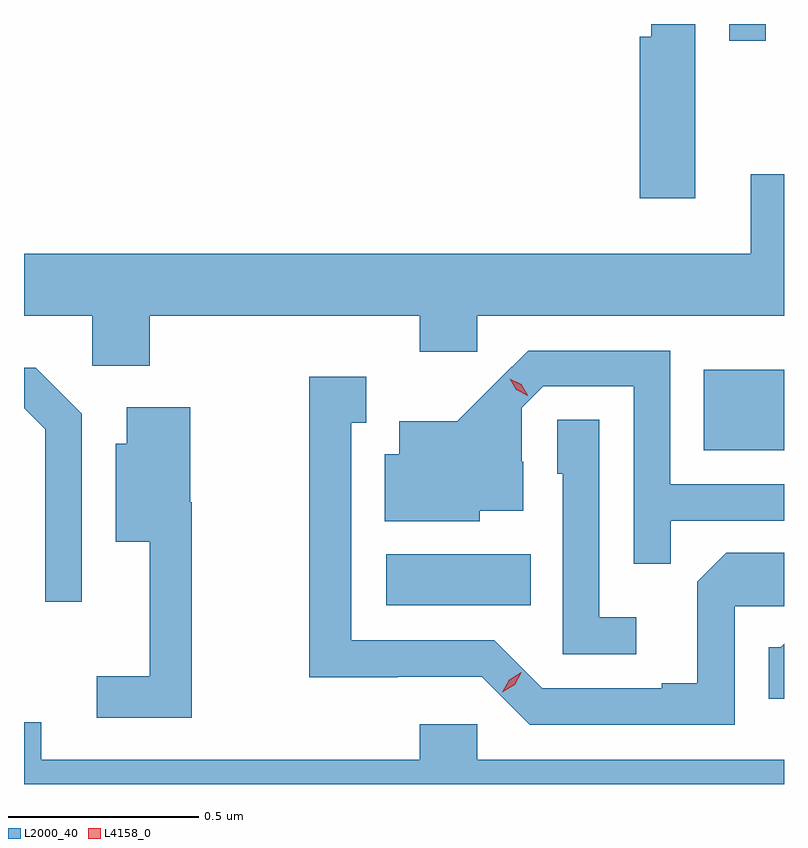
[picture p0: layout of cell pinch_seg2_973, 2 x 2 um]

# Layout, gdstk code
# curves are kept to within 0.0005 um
import gdstk
lib = gdstk.Library(unit=1e-6, precision=1e-09)
def R(c, l, rs):  # rectangles x0, y0, x1, y1
    for r in rs: c.add(gdstk.rectangle(r[:2], r[2:], *l))
def P(c, l, *ps):  # polygons
    for p in ps: c.add(gdstk.Polygon(p, *l))
L2000_40 = (2000, 40)
L4158_0 = (4158, 0)

pinch_seg2_973 = lib.new_cell('pinch_seg2_973')
R(pinch_seg2_973, L2000_40, [(325.854,654.866,326.234,655), (326.69,655.274,326.901,655.486), (326.757,656.352,326.853,656.396)])
P(pinch_seg2_973, L2000_40, [(326.668,656.258),(326.667,656.258),(326.667,656.396),(326.551,656.396),(326.551,656.362),(326.522,656.362),(326.522,655.938),(326.668,655.938)],
  [(325.232,655.628),(325.943,655.628),(325.943,655.533),(326.094,655.533),(326.094,655.628),(326.901,655.628),(326.901,656.001),(326.813,656.001),(326.813,655.792),(324.901,655.792),(324.901,655.628),(325.08,655.628),(325.08,655.497),(325.232,655.497)],
  [(326.603,655.089),(326.901,655.089),(326.901,655.185),(326.601,655.185),(326.601,655.536),(326.228,655.536),(326.041,655.351),(325.889,655.351),(325.889,655.264),(325.85,655.264),(325.85,655.088),(326.1,655.088),(326.1,655.115),(326.215,655.115),(326.215,655.244),(326.211,655.244),(326.211,655.386),(326.268,655.443),(326.505,655.443),(326.505,654.976),(326.603,654.976)],
  [(325.053,655.371),(324.932,655.492),(324.901,655.492),(324.901,655.385),(324.957,655.329),(324.957,654.876),(325.053,654.876)],
  [(326.772,654.864),(326.901,654.864),(326.901,655.004),(326.749,655.004),(326.673,654.928),(326.673,654.661),(326.579,654.661),(326.579,654.648),(326.265,654.648),(326.139,654.774),(325.762,654.774),(325.762,655.347),(325.801,655.347),(325.801,655.468),(325.651,655.468),(325.651,654.677),(325.884,654.677),(325.884,654.678),(326.106,654.678),(326.232,654.552),(326.772,654.552)],
  [(325.342,655.138),(325.338,655.138),(325.338,655.387),(325.172,655.387),(325.172,655.291),(325.142,655.291),(325.142,655.034),(325.232,655.034),(325.232,654.679),(325.092,654.679),(325.092,654.57),(325.342,654.57)],
  [(326.512,654.835),(326.415,654.835),(326.415,655.355),(326.304,655.355),(326.304,655.212),(326.319,655.212),(326.319,654.738),(326.512,654.738)],
  [(326.901,654.765),(326.892,654.756),(326.861,654.756),(326.861,654.62),(326.901,654.62)],
  [(326.901,654.46),(326.094,654.46),(326.094,654.553),(325.943,654.553),(325.943,654.46),(324.946,654.46),(324.946,654.558),(324.901,654.558),(324.901,654.396),(326.901,654.396)])
P(pinch_seg2_973, L4158_0, [(326.227,655.418),(326.196,655.434),(326.179,655.463),(326.179,655.463),(326.179,655.463),(326.21,655.448),(326.227,655.419),(326.227,655.418)],
  [(326.16,654.638),(326.16,654.638),(326.178,654.671),(326.21,654.69),(326.21,654.69),(326.21,654.689),(326.192,654.657),(326.16,654.638)])

lib.write_gds('pinch_seg2_973.gds')
